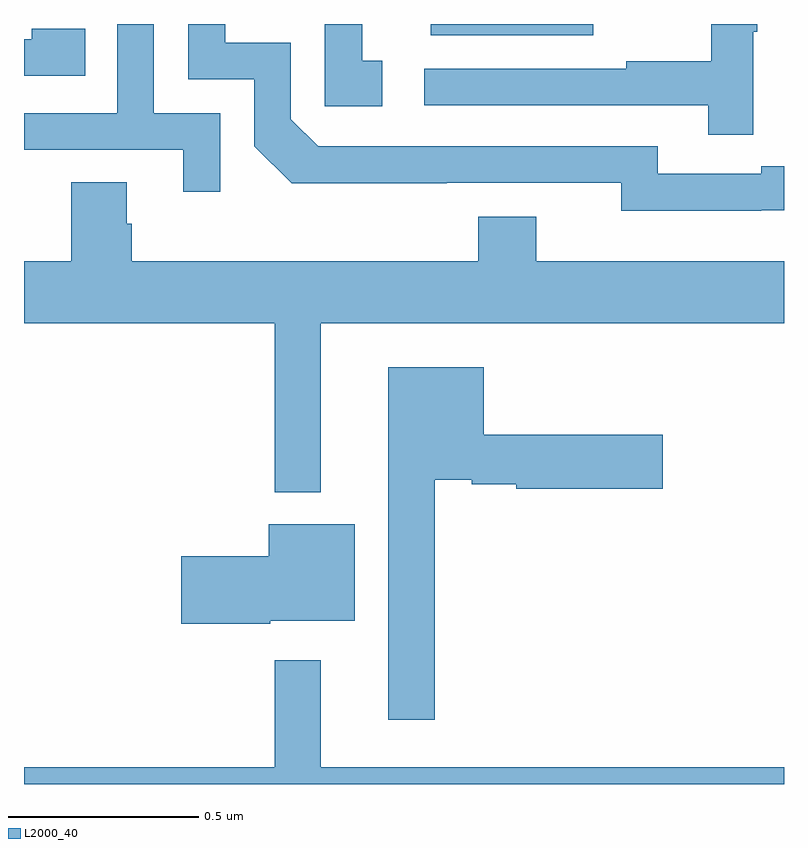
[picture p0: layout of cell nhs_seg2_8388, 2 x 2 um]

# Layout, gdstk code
import gdstk
lib = gdstk.Library(unit=1e-6, precision=1e-09)
def R(c, l, rs):  # rectangles x0, y0, x1, y1
    for r in rs: c.add(gdstk.rectangle(r[:2], r[2:], *l))
def P(c, l, *ps):  # polygons
    for p in ps: c.add(gdstk.Polygon(p, *l))
L2000_40 = (2000, 40)

nhs_seg2_8388 = lib.new_cell('nhs_seg2_8388')
R(nhs_seg2_8388, L2000_40, [(217.07,605.771,217.498,605.8)])
P(nhs_seg2_8388, L2000_40, [(217.919,605.779),(217.93,605.779),(217.93,605.8),(217.809,605.8),(217.809,605.702),(217.585,605.702),(217.585,605.682),(217.053,605.682),(217.053,605.586),(217.801,605.586),(217.801,605.508),(217.919,605.508)],
  [(216.516,605.565),(216.342,605.565),(216.342,605.8),(216.246,605.8),(216.246,605.565),(216,605.565),(216,605.469),(216.419,605.469),(216.419,605.358),(216.516,605.358)],
  [(216.943,605.703),(216.89,605.703),(216.89,605.8),(216.792,605.8),(216.792,605.583),(216.943,605.583)],
  [(217.94,605.31),(218,605.31),(218,605.426),(217.94,605.426),(217.94,605.406),(217.668,605.406),(217.668,605.478),(216.774,605.478),(216.702,605.55),(216.702,605.751),(216.529,605.751),(216.529,605.8),(216.432,605.8),(216.432,605.655),(216.606,605.655),(216.606,605.478),(216.704,605.381),(217.112,605.381),(217.112,605.382),(217.572,605.382),(217.572,605.309),(217.94,605.309)],
  [(216.161,605.787),(216.021,605.787),(216.021,605.76),(216,605.76),(216,605.664),(216.161,605.664)],
  [(216.781,605.012),(218,605.012),(218,605.176),(217.348,605.176),(217.348,605.293),(217.196,605.293),(217.196,605.176),(216.284,605.176),(216.284,605.274),(216.271,605.274),(216.271,605.384),(216.124,605.384),(216.124,605.176),(216,605.176),(216,605.012),(216.66,605.012),(216.66,604.568),(216.781,604.568)],
  [(217.081,604.601),(217.178,604.601),(217.178,604.589),(217.296,604.589),(217.296,604.577),(217.681,604.577),(217.681,604.719),(217.21,604.719),(217.21,604.897),(216.959,604.897),(216.959,603.969),(217.081,603.969)],
  [(216.648,604.229),(216.871,604.229),(216.871,604.483),(216.644,604.483),(216.644,604.4),(216.414,604.4),(216.414,604.222),(216.648,604.222)],
  [(218,603.844),(216.781,603.844),(216.781,604.126),(216.66,604.126),(216.66,603.844),(216,603.844),(216,603.8),(218,603.8)])

lib.write_gds('nhs_seg2_8388.gds')
